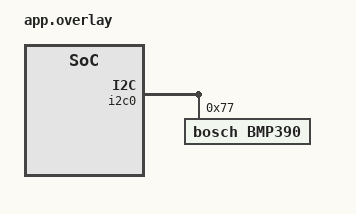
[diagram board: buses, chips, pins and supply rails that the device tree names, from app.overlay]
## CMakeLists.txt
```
# SPDX-License-Identifier: Apache-2.0

cmake_minimum_required(VERSION 3.20.0)

list(APPEND ZEPHYR_EXTRA_MODULES
	${CMAKE_CURRENT_SOURCE_DIR}/drivers/sensor/bmp390
)

find_package(Zephyr REQUIRED HINTS $ENV{ZEPHYR_BASE})
project(bmp-shuttle)

if(DEFINED DEBUG_PRINTF)
  zephyr_compile_definitions(DEBUG_PRINTF=${DEBUG_PRINTF})
endif()
if(DEFINED SAME_PRIO)
  zephyr_compile_definitions(SAME_PRIO)
endif()
if(DEFINED FORKS)
  zephyr_compile_definitions(FORKS=${FORKS})
endif()

target_include_directories(app PRIVATE ${ZEPHYR_BASE}/include/zephyr/portability)
target_sources(app PRIVATE 
  src/main.c
  src/sensors/sensors.c
)

target_include_directories(app PRIVATE ${ZEPHYR_BASE}/include/zephyr/portability)
target_include_directories(app PRIVATE
  inc
  src
  src/sensors
)

zephyr_library_include_directories(.)
```

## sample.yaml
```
sample:
  name: CMSIS_RTOS_V2 Synchronization
tests:
  sample.portability.cmsis_rtos_v2.timer_synchronization:
    integration_platforms:
      - native_posix
    tags: cmsis_rtos
    min_ram: 32
    min_flash: 34
    harness: console
    harness_config:
      type: multi_line
      ordered: true
      regex:
        - "Wrote to message queue: (.*)"
        - "Read from message queue: (.*)"
        - "Sample execution successful"
```

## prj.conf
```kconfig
#
# Hopper Project Configuration 
#

# Memory Configuration
CONFIG_HEAP_MEM_POOL_SIZE=8192
CONFIG_MAIN_STACK_SIZE=4096
CONFIG_SYSTEM_WORKQUEUE_STACK_SIZE=2048

# Disable AP Protect 
# Setting the CONFIG_NRF_APPROTECT_USE_UICR Kconfig option to y 
# and compiling the firmware makes the AP-Protect disabled by default.
# You can start debugging the firmware without additional steps needed.
# Once you are done debugging, run the following command to enable the access port protection:
# nrfjprog --rbp ALL
CONFIG_NRF_APPROTECT_USE_UICR=n
CONFIG_NRF_SECURE_APPROTECT_USE_UICR=n

# C Library
CONFIG_NEWLIB_LIBC=y 
CONFIG_FPU=y

# Peripherals 
CONFIG_GPIO=y
CONFIG_I2C=y

# Sensors
CONFIG_SENSOR=y

CONFIG_BMP390=y
CONFIG_BMP390_TRIGGER_NONE=n

# Logging and Debug
CONFIG_ASSERT=y

CONFIG_STDOUT_CONSOLE=y
CONFIG_UART_CONSOLE=n
CONFIG_USE_SEGGER_RTT=y
CONFIG_RTT_CONSOLE=y
CONFIG_PRINTK=y
CONFIG_CBPRINTF_FP_SUPPORT=y

CONFIG_DEBUG_OPTIMIZATIONS=y
CONFIG_NO_OPTIMIZATIONS=y

CONFIG_LOG=y
CONFIG_LOG_BACKEND_RTT=y
CONFIG_LOG_BACKEND_UART=n
CONFIG_LOG_DEFAULT_LEVEL=4
#CONFIG_LOG_BUFFER_SIZE=8192

CONFIG_LOG_PRINTK=y
CONFIG_LOG_MODE_IMMEDIATE=y
CONFIG_EXTRA_EXCEPTION_INFO=y

#
# Module Log Levels 
# options: OFF, ERR, WRN, INF, DBG
#
# Silence those that do not set themselves 
CONFIG_LOG_DEFAULT_LEVEL=0
# See what sensors are doing
CONFIG_SENSOR_LOG_LEVEL_DBG=y
CONFIG_BMP390_LOG_LEVEL_DBG=y

#
# Thread Analysis 
#
CONFIG_THREAD_ANALYZER=n
#CONFIG_THREAD_ANALYZER_USE_LOG=y
#CONFIG_THREAD_ANALYZER_AUTO=y
# Default is 60
#CONFIG_THREAD_ANALYZER_AUTO_INTERVAL=20
#CONFIG_THREAD_ANALYZER_AUTO_STACK_SIZE=65536

#CONFIG_THREAD_NAME=y
#CONFIG_THREAD_STACK_INFO=y
#CONFIG_STACK_SENTINEL=y

#
# Portability
#
CONFIG_CMSIS_RTOS_V2=y
CONFIG_NUM_PREEMPT_PRIORITIES=56
CONFIG_THREAD_NAME=y
CONFIG_THREAD_STACK_INFO=y
CONFIG_THREAD_MONITOR=y
CONFIG_INIT_STACKS=y
CONFIG_POLL=y
CONFIG_SCHED_SCALABLE=y
CONFIG_SYS_CLOCK_TICKS_PER_SEC=1000
CONFIG_CMSIS_V2_THREAD_MAX_STACK_SIZE=2048
CONFIG_CMSIS_V2_THREAD_DYNAMIC_STACK_SIZE=2048

# Segger Ozone enable to use thread names
CONFIG_SCHED_CPU_MASK=y
```

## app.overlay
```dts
/*
 * Copyright (c) 2021 Bosch Sensortec GmbH
 *
 * SPDX-License-Identifier: Apache-2.0
 */
 
 / {
 
	aliases 
	{
      press = &bmp390;
    };
};

&i2c0 {
	status = "okay";

	bmp390: bmp390@77 {
		compatible = "bosch,bmp390";
		status = "okay";
		reg = <0x77>;
    odr = "50";
    osr-press = <8>;
    osr-temp = <1>;
    iir-filter = <3>;
	};
};
```

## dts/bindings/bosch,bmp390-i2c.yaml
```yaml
# Copyright (c) 2020 Facebook, Inc. and its affiliates
# SPDX-License-Identifier: Apache-2.0

description: Bosch BMP390 pressure sensor accessed through I2C bus

compatible: "bosch,bmp390"

include: [i2c-device.yaml, "bosch,bmp390.yaml"]
```

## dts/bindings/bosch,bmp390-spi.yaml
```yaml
# Copyright (c) 2020 Facebook, Inc. and its affiliates
# SPDX-License-Identifier: Apache-2.0

description: |
    Bosch BMP390 pressure sensor accessed through SPI bus

compatible: "bosch,bmp390"

include: [spi-device.yaml, "bosch,bmp390.yaml"]
```

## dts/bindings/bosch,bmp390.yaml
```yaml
# Copyright (c) 2020 Facebook, Inc. and its affiliates
# SPDX-License-Identifier: Apache-2.0

# Common fields for BMP390

include: sensor-device.yaml

properties:
    int-gpios:
      type: phandle-array
      required: false

    odr:
      type: string
      required: false
      description: |
        Default output data rate in Hz. Only the following values are allowed:
          200   - 200     - 5ms  (default; chip reset value)
          100   - 100     - 10ms
          50    - 50      - 20ms
          25    - 25      - 40ms
          12.5  - 25/2    - 80ms
          6.25  - 25/4    - 160ms
          3.125 - 25/8    - 320ms
          1.563 - 25/16   - 640ms
          .781  - 25/32   - 1.28s
          .391  - 25/64   - 2.56s
          .195  - 25/128  - 5.12s
          .098  - 25/256  - 10.24s
          .049  - 25/512  - 20.48s
          .024  - 25/1024 - 40.96s
          .012  - 25/2048 - 81.92s
          .006  - 25/4096 - 163.84s
          .003  - 25/8192 - 327.68s
          .0015 - 25/16384 - 655.36s
          
      default: "50"
      enum:
        - "200"
        - "100"
        - "50"
        - "25"
        - "12.5"
        - "6.25"
        - "3.125"
        - "1.563"
        - ".781"
        - ".391"
        - ".195"
        - ".098"
        - ".049"
        - ".024"
        - ".012"
        - ".006"
        - ".003"
        - ".0015"

    osr-press:
      type: int
      required: false
      description: |
        Default pressure oversampling rate. Only the following values are
        allowed:
          1 sample, 16-bit, 2.64 Pa
          2 samples, 17-bit, 1.32 Pa
          4 samples, 18-bit, 0.66 Pa (default; chip reset value)
          8 samples, 19-bit, 0.33 Pa
          16 samples, 20-bit, 0.17 Pa
          32 Samples, 21-bit, 0.085 Pa
      default: 4
      enum:
        - 1
        - 2
        - 4
        - 8
        - 16
        - 32

    osr-temp:
      type: int
      required: false
      description: |
        Default temperature oversampling rate. Only the following values are
        allowed:
          1 sample, 16-bit, .0050 C (default; chip reset value)
          2 samples, 17-bit, .0025 C
          4 samples, 18-bit, .0012 C
          8 samples, 19-bit, .0006 C
          16 samples, 20-bit, .0003 C
          32 Samples, 21-bit, .00015 C
      default: 1
      enum:
        - 1
        - 2
        - 4
        - 8
        - 16
        - 32

    iir-filter:
      type: int
      required: false
      description: |
        Default IIR filter coefficient. The default 0 is the chip reset value.
      default: 0
      enum:
        - 0
        - 1
        - 3
        - 7
        - 15
        - 31
        - 63
        - 127
```

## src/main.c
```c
/*
 * Copyright (c) 2018 Intel Corporation
 *
 * SPDX-License-Identifier: Apache-2.0
 */

/**
 * @file Synchronization demo using CMSIS RTOS V2 APIs.
 */

// system includes ------------------------------------------------------------
#include <zephyr/kernel.h>
#include <zephyr/device.h>
#include <zephyr/devicetree.h>
#include <zephyr/drivers/gpio.h>
#include <zephyr/logging/log.h>

// local includes -------------------------------------------------------------
#include "sensors.h"

// library includes -----------------------------------------------------------

// Macros and Defines ---------------------------------------------------------
LOG_MODULE_REGISTER(MAIN, LOG_LEVEL_DBG);

/* 1000 msec = 1 sec */
#define SLEEP_TIME_MS   1000

/* The devicetree node identifier for the "led0" alias. */
#define LED0_NODE DT_ALIAS(led0)

// enumerations ---------------------------------------------------------------

// structures -----------------------------------------------------------------

// global parameter declarations ----------------------------------------------

// local parameter declarations -----------------------------------------------
/*
 * A build error on this line means your board is unsupported.
 * See the sample documentation for information on how to fix this.
 */
static const struct gpio_dt_spec led = GPIO_DT_SPEC_GET(LED0_NODE, gpios);

// local function prototypes --------------------------------------------------

int main(void)
{
	int ret;

	if (!gpio_is_ready_dt(&led)) 
  {
		return 0;
	}

	ret = gpio_pin_configure_dt(&led, GPIO_OUTPUT_ACTIVE);
	if (ret < 0) 
  {
		return 0;
	}

  sensorsInit();

  while (1) 
	{
 		ret = gpio_pin_toggle_dt(&led);
		if (ret < 0) 
    {
			return 0;
		}

    k_msleep(SLEEP_TIME_MS);
  }

  return 0;
}
```

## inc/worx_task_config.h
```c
/**
 *
 * For the flag. T_ means task. H_ means HAL module. U_ would means utils.
 */

#ifndef _WORX_TASK_CONFIG_H_
#define _WORX_TASK_CONFIG_H_
#include <cmsis_os2.h>

/* Note that Zephyr's implementation is backwards from
 * CMSIS OS documentation
 */
#define OS_QUEUE_NOTIMEOUT 0

#define CONFIG_BLOCK_ADDRESS    (2048 * (64-1))
#define MCU_ID_ADDRESS          0x1FFF7A10
#define MCU_FLASH_SIZE_ADDRESS  0x1FFF7A22
#ifndef WORX_HEAP_SIZE
  #define WORX_HEAP_SIZE      30000
#endif
#define WORX_MIN_STACK_SIZE 128 

/* 
 * FreeRTOS Config params
 * I saw no point in changing these everywhere 
*/
#define configTICK_RATE_HZ_RAW  1000
#define configTICK_RATE_HZ			( ( portTickType ) configTICK_RATE_HZ_RAW )
#define configMINIMAL_STACK_SIZE	( ( unsigned short ) WORX_MIN_STACK_SIZE )
#define configTOTAL_HEAP_SIZE		( ( size_t ) ( WORX_HEAP_SIZE ) )
#define configMAX_TASK_NAME_LEN		( 10 )

//Milliseconds to OS Ticks
#if configTICK_RATE_HZ_RAW != 1000
  #error "Please review the use of M2T and T2M if there is not a 1 to 1 mapping between ticks and milliseconds"
#endif
#define M2T(X) ((unsigned int)(X))
#define F2T(X) ((unsigned int)((configTICK_RATE_HZ/(X))))
#define T2M(X) ((unsigned int)(X))

/* End FreeRTOS Config params */

/* 
 * Priorities Defined in main
 * To align with CMSIS style priorities 
 * these are using the real time selections. 
 *  
 * CMSIS to Zephyr 
 * (osPriorityISR (56) - c_prio) 
 *  
 * #define PRIORITY 7               == osPriorityRealtime1
 * #define PRIORITY_HI PRIORITY - 1 == osPriorityRealtime2
 */

// Task priorities
#define SENSORS_TASK_PRI              osPriorityRealtime2   // CMSIS 50, Zephyr 6, FreeRTOS Priority 4

// Task names
#define SENSORS_TASK_NAME             "SENSORS"

//Task stack sizes
#define STACK_SIZE_DBGLOG_MULTIPLIER  10

#define SENSORS_TASK_STACKSIZE        (STACK_SIZE_DBGLOG_MULTIPLIER * configMINIMAL_STACK_SIZE) 

#endif /* _WORX_TASK_CONFIG_H_ */
```

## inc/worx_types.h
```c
#ifndef __WORX_TYPES_H__
#define __WORX_TYPES_H__

#include <stdint.h>
#include <stdbool.h>

typedef struct baro_s {
  float pressure;           // mbar
  float temperature;        // degree Celcius
  float asl;                // m (ASL = altitude above sea level)
} baro_t;

#endif /* __WORX_TYPES_H__ */
```
